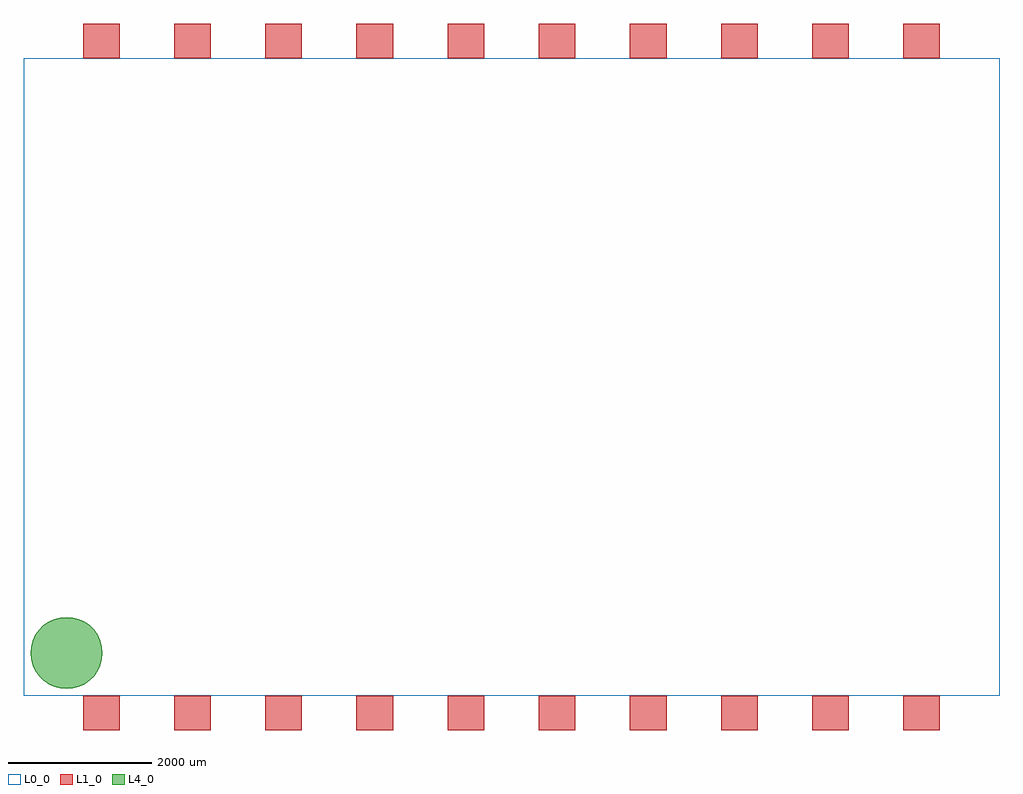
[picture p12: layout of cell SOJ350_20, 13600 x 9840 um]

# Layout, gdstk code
import gdstk
lib = gdstk.Library(unit=1e-6, precision=1e-09)
def R(c, l, rs):  # rectangles x0, y0, x1, y1
    for r in rs: c.add(gdstk.rectangle(r[:2], r[2:], *l))
def A(c, l, x, y, w, h, nx, ny, dx, dy):  # array of equal rectangles
    R(c, l, [(x+i*dx, y+j*dy, x+i*dx+w, y+j*dy+h) for i in range(nx) for j in range(ny)])
def P(c, l, *ps):  # polygons
    for p in ps: c.add(gdstk.Polygon(p, *l))
L0_0 = (0, 0)
L1_0 = (1, 0)
L4_0 = (4, 0)
L99_1 = (99, 1)
L99_2 = (99, 2)
L99_3 = (99, 3)
L99_4 = (99, 4)
L99_5 = (99, 5)
L99_6 = (99, 6)
L99_7 = (99, 7)
L99_8 = (99, 8)
L99_9 = (99, 9)
L99_10 = (99, 10)
L99_11 = (99, 11)
L99_12 = (99, 12)
L99_13 = (99, 13)
L99_14 = (99, 14)
L99_15 = (99, 15)
L99_16 = (99, 16)
L99_17 = (99, 17)
L99_18 = (99, 18)
L99_19 = (99, 19)
L99_20 = (99, 20)

soj350_20 = lib.new_cell('SOJ350_20')
R(soj350_20, L0_0, [(0,0,13600,8890)])
A(soj350_20, L1_0, 830, -475, 510, 475, 10, 2, 1270, 9365)
P(soj350_20, L4_0, [(1100,600),(1092.404,513.176),(1069.846,428.99),(1033.013,350),(983.022,278.606),(921.394,216.978),(850,166.987),(771.01,130.154),(686.824,107.596),(600,100),(513.176,107.596),(428.99,130.154),(350,166.987),(278.606,216.978),(216.978,278.606),(166.987,350),(130.154,428.99),(107.596,513.176),(100,600),(107.596,686.824),(130.154,771.01),(166.987,850),(216.978,921.394),(278.606,983.022),(350,1033.013),(428.99,1069.846),(513.176,1092.404),(600,1100),(686.824,1092.404),(771.01,1069.846),(850,1033.013),(921.394,983.022),(983.022,921.394),(1033.013,850),(1069.846,771.01),(1092.404,686.824)])
soj350_20.add(gdstk.FlexPath([(1340,0),(830,0)], 0, ends="round", simple_path=True, layer=99, datatype=1))  # L99_1
soj350_20.add(gdstk.FlexPath([(2610,0),(2100,0)], 0, ends="round", simple_path=True, layer=99, datatype=2))  # L99_2
soj350_20.add(gdstk.FlexPath([(3880,0),(3370,0)], 0, ends="round", simple_path=True, layer=99, datatype=3))  # L99_3
soj350_20.add(gdstk.FlexPath([(5150,0),(4640,0)], 0, ends="round", simple_path=True, layer=99, datatype=4))  # L99_4
soj350_20.add(gdstk.FlexPath([(6420,0),(5910,0)], 0, ends="round", simple_path=True, layer=99, datatype=5))  # L99_5
soj350_20.add(gdstk.FlexPath([(7690,0),(7180,0)], 0, ends="round", simple_path=True, layer=99, datatype=6))  # L99_6
soj350_20.add(gdstk.FlexPath([(8960,0),(8450,0)], 0, ends="round", simple_path=True, layer=99, datatype=7))  # L99_7
soj350_20.add(gdstk.FlexPath([(10230,0),(9720,0)], 0, ends="round", simple_path=True, layer=99, datatype=8))  # L99_8
soj350_20.add(gdstk.FlexPath([(11500,0),(10990,0)], 0, ends="round", simple_path=True, layer=99, datatype=9))  # L99_9
soj350_20.add(gdstk.FlexPath([(12770,0),(12260,0)], 0, ends="round", simple_path=True, layer=99, datatype=10))  # L99_10
soj350_20.add(gdstk.FlexPath([(830,8890),(1340,8890)], 0, ends="round", simple_path=True, layer=99, datatype=20))  # L99_20
soj350_20.add(gdstk.FlexPath([(2100,8890),(2610,8890)], 0, ends="round", simple_path=True, layer=99, datatype=19))  # L99_19
soj350_20.add(gdstk.FlexPath([(3370,8890),(3880,8890)], 0, ends="round", simple_path=True, layer=99, datatype=18))  # L99_18
soj350_20.add(gdstk.FlexPath([(4640,8890),(5150,8890)], 0, ends="round", simple_path=True, layer=99, datatype=17))  # L99_17
soj350_20.add(gdstk.FlexPath([(5910,8890),(6420,8890)], 0, ends="round", simple_path=True, layer=99, datatype=16))  # L99_16
soj350_20.add(gdstk.FlexPath([(7180,8890),(7690,8890)], 0, ends="round", simple_path=True, layer=99, datatype=15))  # L99_15
soj350_20.add(gdstk.FlexPath([(8450,8890),(8960,8890)], 0, ends="round", simple_path=True, layer=99, datatype=14))  # L99_14
soj350_20.add(gdstk.FlexPath([(9720,8890),(10230,8890)], 0, ends="round", simple_path=True, layer=99, datatype=13))  # L99_13
soj350_20.add(gdstk.FlexPath([(10990,8890),(11500,8890)], 0, ends="round", simple_path=True, layer=99, datatype=12))  # L99_12
soj350_20.add(gdstk.FlexPath([(12260,8890),(12770,8890)], 0, ends="round", simple_path=True, layer=99, datatype=11))  # L99_11

lib.write_gds('SOJ350_20.gds')
